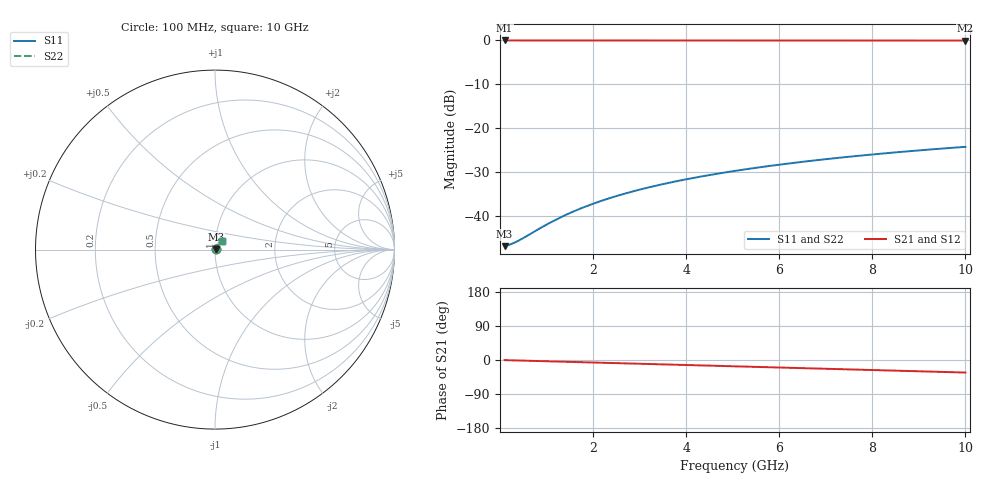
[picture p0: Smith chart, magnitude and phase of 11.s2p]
# Hz S RI R 50.00
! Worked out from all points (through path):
!   100 points, 100 MHz to 10 GHz, reference 50 ohm
!   highest |S21| = -0.04 dB at 100 MHz (marker M1); lowest = -0.1 dB at 10 GHz (marker M2)
!   group delay of S21, straight-line fit = 9.19 ps
!   lowest |S11| = -46.9 dB at 100 MHz (marker M3), VSWR 1.01, Z = 50.4 + j0.0626 ohm
!   |S11| at or under -10 dB: start of sweep to end of sweep
!   |S22| runs from -46.9 to -24.3 dB; largest |S21 - S12| = 0
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1e8  0.00445 0.000621  0.9955 -0.00574  0.9955 -0.00574  0.00445 0.000621
2e8  0.00449 0.00124  0.9954 -0.0115  0.9954 -0.0115  0.00449 0.00124
3e8  0.00453 0.00186  0.9953 -0.0172  0.9953 -0.0172  0.00453 0.00186
4e8  0.00457 0.00248  0.9952 -0.023  0.9952 -0.023  0.00457 0.00248
9e8  0.00485 0.00557  0.994 -0.0516  0.994 -0.0516  0.00485 0.00557
1.2e9  0.0051 0.00741  0.9929 -0.0688  0.9929 -0.0688  0.0051 0.00741
1.5e9  0.00541 0.00924  0.9916 -0.086  0.9916 -0.086  0.00541 0.00924
1.8e9  0.00578 0.0111  0.9899 -0.1031  0.9899 -0.1031  0.00578 0.0111
2.1e9  0.00621 0.0129  0.9879 -0.1202  0.9879 -0.1202  0.00621 0.0129
2.5e9  0.00688 0.0153  0.9848 -0.143  0.9848 -0.143  0.00688 0.0153
2.9e9  0.00766 0.0176  0.9812 -0.1656  0.9812 -0.1656  0.00766 0.0176
3.4e9  0.00879 0.0205  0.9759 -0.1938  0.9759 -0.1938  0.00879 0.0205
3.8e9  0.00981 0.0227  0.9711 -0.2163  0.9711 -0.2163  0.00981 0.0227
4.2e9  0.0109 0.0249  0.9657 -0.2386  0.9657 -0.2386  0.0109 0.0249
4.6e9  0.0122 0.0271  0.9599 -0.2609  0.9599 -0.2609  0.0122 0.0271
5.1e9  0.0138 0.0297  0.9518 -0.2884  0.9518 -0.2884  0.0138 0.0297
5.9e9  0.0168 0.0336  0.9372 -0.332  0.9372 -0.332  0.0168 0.0336
6.7e9  0.0201 0.0372  0.9207 -0.3749  0.9207 -0.3749  0.0201 0.0372
7.5e9  0.0238 0.0405  0.9021 -0.417  0.9021 -0.417  0.0238 0.0405
8.4e9  0.0283 0.0438  0.8789 -0.4632  0.8789 -0.4632  0.0283 0.0438
9.2e9  0.0325 0.0464  0.8563 -0.5032  0.8563 -0.5032  0.0325 0.0464
1e10  0.037 0.0485  0.8318 -0.5422  0.8318 -0.5422  0.037 0.0485
